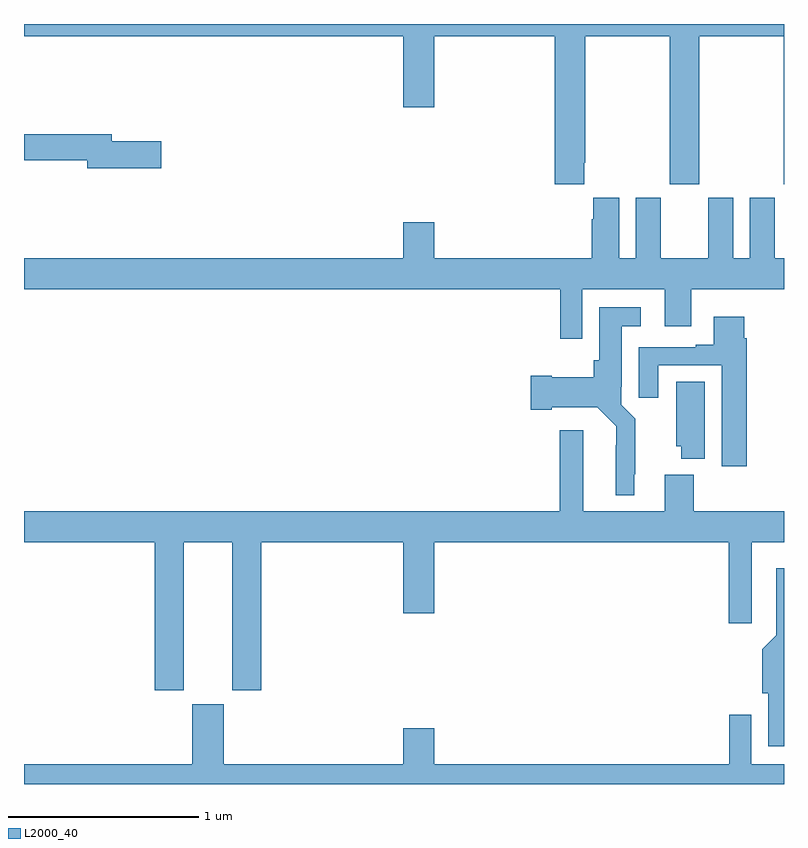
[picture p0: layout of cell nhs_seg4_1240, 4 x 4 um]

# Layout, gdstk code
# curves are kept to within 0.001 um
import gdstk
lib = gdstk.Library(unit=1e-6, precision=1e-09)
def P(c, l, *ps):  # polygons
    for p in ps: c.add(gdstk.Polygon(p, *l))
L2000_40 = (2000, 40)

nhs_seg4_1240 = lib.new_cell('nhs_seg4_1240')
P(nhs_seg4_1240, L2000_40, [(177.949,780.169),(177.954,780.169),(177.954,780.836),(178.399,780.836),(178.399,780.057),(178.554,780.057),(178.554,780.836),(178.999,780.836),(178.999,780.057),(179,780.057),(179,780.9),(175,780.9),(175,780.836),(176.996,780.836),(176.996,780.462),(177.16,780.462),(177.16,780.836),(177.794,780.836),(177.794,780.057),(177.949,780.057)],
  [(175.723,780.284),(175.462,780.284),(175.462,780.32),(175,780.32),(175,780.184),(175.334,780.184),(175.334,780.142),(175.723,780.142)],
  [(177.939,779.504),(178.373,779.504),(178.373,779.31),(178.513,779.31),(178.513,779.504),(179,779.504),(179,779.668),(178.951,779.668),(178.951,779.986),(178.82,779.986),(178.82,779.668),(178.732,779.668),(178.732,779.986),(178.601,779.986),(178.601,779.668),(178.351,779.668),(178.351,779.986),(178.22,779.986),(178.22,779.668),(178.132,779.668),(178.132,779.986),(177.995,779.986),(177.995,779.873),(177.989,779.873),(177.989,779.668),(177.16,779.668),(177.16,779.857),(176.996,779.857),(176.996,779.668),(175,779.668),(175,779.504),(177.823,779.504),(177.823,779.244),(177.939,779.244)],
  [(178.213,778.531),(178.217,778.531),(178.217,778.822),(178.143,778.896),(178.143,778.99),(178.147,778.99),(178.147,779.309),(178.246,779.309),(178.246,779.41),(178.028,779.41),(178.028,779.13),(177.998,779.13),(177.998,779.041),(177.778,779.041),(177.778,779.049),(177.666,779.049),(177.666,778.871),(177.778,778.871),(177.778,778.883),(178.017,778.883),(178.116,778.784),(178.115,778.421),(178.213,778.421)],
  [(178.805,779.246),(178.792,779.246),(178.792,779.359),(178.631,779.359),(178.631,779.212),(178.535,779.212),(178.535,779.199),(178.235,779.199),(178.235,778.932),(178.339,778.932),(178.339,779.103),(178.673,779.103),(178.673,778.572),(178.805,778.572)],
  [(178.582,779.018),(178.433,779.018),(178.433,778.677),(178.46,778.677),(178.46,778.613),(178.582,778.613)],
  [(175.84,778.172),(176.096,778.172),(176.096,777.393),(176.249,777.393),(176.249,778.172),(176.996,778.172),(176.996,777.798),(177.16,777.798),(177.16,778.172),(178.709,778.172),(178.709,777.747),(178.831,777.747),(178.831,778.172),(179,778.172),(179,778.336),(178.526,778.336),(178.526,778.528),(178.373,778.528),(178.373,778.336),(177.943,778.336),(177.943,778.762),(177.821,778.762),(177.821,778.336),(175,778.336),(175,778.172),(175.688,778.172),(175.688,777.393),(175.84,777.393)],
  [(179,778.036),(178.958,778.036),(178.958,777.682),(178.886,777.61),(178.886,777.378),(178.916,777.378),(178.916,777.098),(179,777.098)],
  [(179,777.004),(178.827,777.004),(178.827,777.265),(178.711,777.265),(178.711,777.004),(177.16,777.004),(177.16,777.193),(176.996,777.193),(176.996,777.004),(176.05,777.004),(176.05,777.321),(175.886,777.321),(175.886,777.004),(175,777.004),(175,776.9),(179,776.9)])

lib.write_gds('nhs_seg4_1240.gds')
